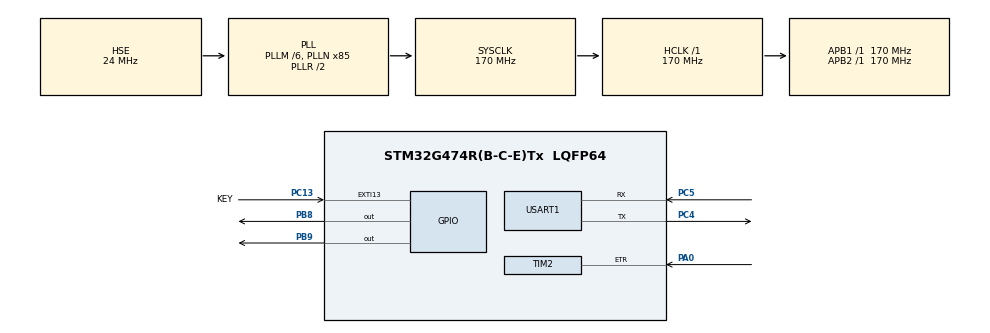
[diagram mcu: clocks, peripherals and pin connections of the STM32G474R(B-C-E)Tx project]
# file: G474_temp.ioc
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Mcu.Family=STM32G4
Mcu.Name=STM32G474R(B-C-E)Tx
Mcu.Package=LQFP64
NVIC.EXTI15_10_IRQn=true\:0\:0\:false\:false\:true\:true\:true\:true
NVIC.PriorityGroup=NVIC_PRIORITYGROUP_4
NVIC.TIM2_IRQn=true\:0\:0\:false\:false\:true\:true\:true\:true
NVIC.TIM3_IRQn=true\:0\:0\:false\:false\:true\:true\:true\:true
NVIC.USART1_IRQn=true\:0\:0\:false\:false\:true\:true\:true\:true
PA0.Signal=S_TIM2_ETR
PA13.Mode=Serial_Wire
PA13.Signal=SYS_JTMS-SWDIO
PA14.Mode=Serial_Wire
PA14.Signal=SYS_JTCK-SWCLK
PB8-BOOT0.GPIO_FM8=__NULL
PB8-BOOT0.GPIO_ModeDefaultOutputPP=GPIO_MODE_OUTPUT_OD
PB8-BOOT0.GPIO_PuPd=GPIO_PULLUP
PB8-BOOT0.GPIO_Speed=GPIO_SPEED_FREQ_VERY_HIGH
PB8-BOOT0.Signal=GPIO_Output
PB9.GPIO_ModeDefaultOutputPP=GPIO_MODE_OUTPUT_OD
PB9.GPIO_PuPd=GPIO_PULLUP
PB9.GPIO_Speed=GPIO_SPEED_FREQ_VERY_HIGH
PB9.Signal=GPIO_Output
PC13.GPIO_Label=KEY
PC13.Signal=GPXTI13
PC14-OSC32_IN.Mode=LSE-External-Oscillator
PC14-OSC32_IN.Signal=RCC_OSC32_IN
PC15-OSC32_OUT.Mode=LSE-External-Oscillator
PC15-OSC32_OUT.Signal=RCC_OSC32_OUT
PC4.Mode=Asynchronous
PC4.Signal=USART1_TX
PC5.Mode=Asynchronous
PC5.Signal=USART1_RX
PF0-OSC_IN.Mode=HSE-External-Oscillator
PF0-OSC_IN.Signal=RCC_OSC_IN
PF1-OSC_OUT.Mode=HSE-External-Oscillator
PF1-OSC_OUT.Signal=RCC_OSC_OUT
ProjectManager.HeapSize=0x200
ProjectManager.StackSize=0x400
ProjectManager.TargetToolchain=MDK-ARM V5.32
RCC.ADC12Freq_Value=170000000
RCC.ADC345Freq_Value=170000000
RCC.AHBFreq_Value=170000000
RCC.APB1Freq_Value=170000000
RCC.APB1TimFreq_Value=170000000
RCC.APB2Freq_Value=170000000
RCC.APB2TimFreq_Value=170000000
RCC.CortexFreq_Value=170000000
RCC.EXTERNAL_CLOCK_VALUE=12288000
RCC.HCLKFreq_Value=170000000
RCC.HSE_VALUE=24000000
RCC.HSI48_VALUE=48000000
RCC.HSI_VALUE=16000000
RCC.PLLM=RCC_PLLM_DIV6
RCC.PLLN=85
RCC.PLLSourceVirtual=RCC_PLLSOURCE_HSE
RCC.RTCClockSelection=RCC_RTCCLKSOURCE_LSE
RCC.SYSCLKFreq_VALUE=170000000
RCC.SYSCLKSource=RCC_SYSCLKSOURCE_PLLCLK
RCC.USBFreq_Value=170000000
RCC.VCOOutputFreq_Value=340000000
SH.S_TIM2_ETR.0=TIM2_ETR,ClockSourceETR_Mode2
TIM2.AutoReloadPreload=TIM_AUTORELOAD_PRELOAD_ENABLE
TIM2.Prescaler=0
TIM3.PeriodNoDither=10000-1
TIM3.Prescaler=17000-1
USART1.VirtualMode-Asynchronous=VM_ASYNC
VP_SYS_VS_DBSignals.Mode=DisableDeadBatterySignals
VP_TIM3_VS_ClockSourceINT.Mode=Internal
board=NUCLEO-G474RE

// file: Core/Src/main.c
/* USER CODE BEGIN Header */
/**
 ******************************************************************************
 * @file           : main.c
 * @brief          : Main program body
 ******************************************************************************
 * @attention
 *
 * Copyright (c) 2023 STMicroelectronics.
 * All rights reserved.
 *
 * This software is licensed under terms that can be found in the LICENSE file
 * in the root directory of this software component.
 * If no LICENSE file comes with this software, it is provided AS-IS.
 *
 ******************************************************************************
 */
/* USER CODE END Header */
#include "main.h"
#include "tim.h"
#include "usart.h"
#include "gpio.h"

/* USER CODE BEGIN Includes */
#include "delay.h"
#include "myusart1.h"
#include "OLED_I2C.h"
/* USER CODE END Includes */

void SystemClock_Config(void);

/* USER CODE BEGIN 0 */
uint32_t FQ; // 用来存放频率

uint32_t CNT_1 = 0; // 0-4294967295内用这个记录
uint32_t CNT_2 = 0; // 超出4294967295位后 用这个记录超过的次数
/* USER CODE END 0 */

int main(void)
{

  /* MCU Configuration--------------------------------------------------------*/

  /* Reset of all peripherals, Initializes the Flash interface and the Systick. */
  HAL_Init();

  /* Configure the system clock */
  SystemClock_Config();

  /* Initialize all configured peripherals */
  MX_GPIO_Init();
  MX_USART1_UART_Init();
  MX_TIM2_Init();
  MX_TIM3_Init();
  /* USER CODE BEGIN 2 */
  delay_init(170);
  MyUSART1_Init(&huart1);
  OLED_Init();
  OLED_CLS();
  OLED_ShowCN(0, 0, 4);                     // 频
  OLED_ShowCN(16, 0, 5);                    // 率
  OLED_ShowStr(100, 2, (uint8_t *)"Hz", 2); // 单位

  HAL_TIM_Base_Start_IT(&htim3); // 启动定时器3进行1S定时
  HAL_TIM_Base_Start_IT(&htim2); // 启动定时器2进行外部脉冲计数

  /* USER CODE END 2 */

  /* Infinite loop */
  while (1)
  {

  }
}

void SystemClock_Config(void)
{
  RCC_OscInitTypeDef RCC_OscInitStruct = {0};
  RCC_ClkInitTypeDef RCC_ClkInitStruct = {0};

  /** Configure the main internal regulator output voltage
   */
  HAL_PWREx_ControlVoltageScaling(PWR_REGULATOR_VOLTAGE_SCALE1_BOOST);

  /** Initializes the RCC Oscillators according to the specified parameters
   * in the RCC_OscInitTypeDef structure.
   */
  RCC_OscInitStruct.OscillatorType = RCC_OSCILLATORTYPE_HSE;
  RCC_OscInitStruct.HSEState = RCC_HSE_ON;
  RCC_OscInitStruct.PLL.PLLState = RCC_PLL_ON;
  RCC_OscInitStruct.PLL.PLLSource = RCC_PLLSOURCE_HSE;
  RCC_OscInitStruct.PLL.PLLM = RCC_PLLM_DIV6;
  RCC_OscInitStruct.PLL.PLLN = 85;
  RCC_OscInitStruct.PLL.PLLP = RCC_PLLP_DIV2;
  RCC_OscInitStruct.PLL.PLLQ = RCC_PLLQ_DIV2;
  RCC_OscInitStruct.PLL.PLLR = RCC_PLLR_DIV2;
  if (HAL_RCC_OscConfig(&RCC_OscInitStruct) != HAL_OK)
  {
    Error_Handler();
  }

  /** Initializes the CPU, AHB and APB buses clocks
   */
  RCC_ClkInitStruct.ClockType = RCC_CLOCKTYPE_HCLK | RCC_CLOCKTYPE_SYSCLK | RCC_CLOCKTYPE_PCLK1 | RCC_CLOCKTYPE_PCLK2;
  RCC_ClkInitStruct.SYSCLKSource = RCC_SYSCLKSOURCE_PLLCLK;
  RCC_ClkInitStruct.AHBCLKDivider = RCC_SYSCLK_DIV1;
  RCC_ClkInitStruct.APB1CLKDivider = RCC_HCLK_DIV1;
  RCC_ClkInitStruct.APB2CLKDivider = RCC_HCLK_DIV1;

  if (HAL_RCC_ClockConfig(&RCC_ClkInitStruct, FLASH_LATENCY_4) != HAL_OK)
  {
    Error_Handler();
  }
}

/* USER CODE BEGIN 4 */
void HAL_TIM_PeriodElapsedCallback(TIM_HandleTypeDef *htim)
{
  if (htim == (&htim3)) // 定时器中断1S触发一次
  {
    CNT_1 = __HAL_TIM_GET_COUNTER(&htim2); // 读取CNT计数值
    //		CNT_1 = TIM2->CNT;// 读取CNT寄存器这样也可以
    FQ = CNT_1 + CNT_2 * (__HAL_TIM_GET_AUTORELOAD(&htim2) + 1); // 获取频率值
    __HAL_TIM_SET_COUNTER(&htim2, 0);                            // 设置CNT为0
    OLED_ShowInt(0, 2, FQ, 2);
    // printf("cnt:%u\r\n", FQ); 											// 打印频率值   1S打印一次
    CNT_1 = 0;
    CNT_2 = 0;
  }
  if (htim == (&htim2)) // 计数值计满，产生更新中断
  {
    CNT_2++; // 记满后，+1，标志多了一个满量程数
  }
}

void HAL_GPIO_EXTI_Callback(uint16_t GPIO_PIN)
{
  if (KEY_Pin)
  {
  }
}
/* USER CODE END 4 */

void Error_Handler(void)
{
  __disable_irq();
  while (1)
  {
  }
}
